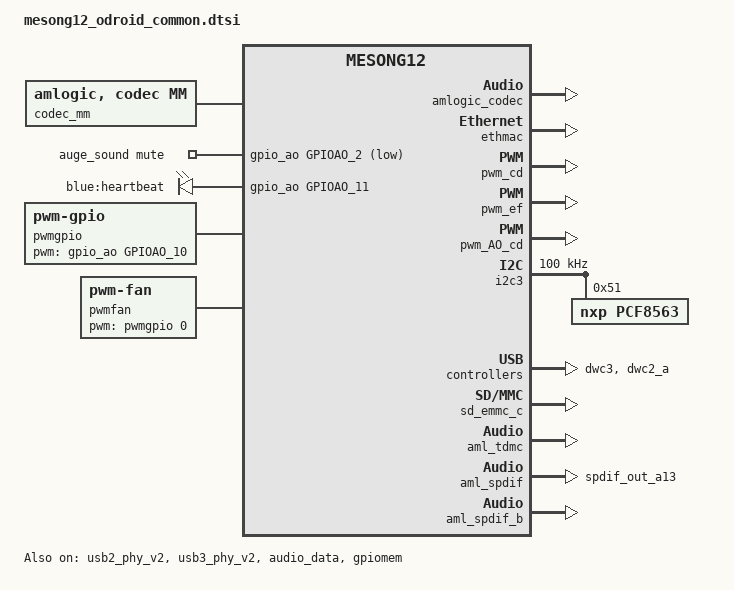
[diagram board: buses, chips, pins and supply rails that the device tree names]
/*
 * arch/arm64/boot/dts/amlogic/mesong12_odroid_common.dtsi
 *
 * Copyright (C) 2018 Hardkernel Co,. Ltd. All rights reserved.
 *
 * This program is free software; you can redistribute it and/or modify
 * it under the terms of the GNU General Public License as published by
 * the Free Software Foundation; either version 2 of the License, or
 * (at your option) any later version.
 *
 * This program is distributed in the hope that it will be useful, but WITHOUT
 * ANY WARRANTY; without even the implied warranty of MERCHANTABILITY or
 * FITNESS FOR A PARTICULAR PURPOSE.  See the GNU General Public License for
 * more details.
 *
 */

/{
	aliases {
		serial0 = &uart_AO;
		serial1 = &uart_A;
		serial2 = &uart_B;
		serial3 = &uart_C;
		serial4 = &uart_AO_B;
		i2c0 = &i2c0;
		i2c1 = &i2c1;
		i2c2 = &i2c2;
		i2c3 = &i2c3;
		i2c4 = &i2c_AO;
		tsensor0 = &p_tsensor;
		tsensor1 = &d_tsensor;
		spi0 = &spicc0;
		spi1 = &spicc1;
	};

	gpiomem {
		compatible = "amlogic, gpiomem";
		reg = <0x0 0xff634000 0x0 0x1000>;
		status = "okay";
	};

	codec_mm {
		compatible = "amlogic, codec, mm";
		memory-region = <&codec_mm_cma &codec_mm_reserved>;
		dev_name = "codec_mm";
		status = "okay";
	};

        ppmgr {
                compatible = "amlogic, ppmgr";
                memory-region = <&ppmgr_reserved>;
                dev_name = "ppmgr";
                status = "okay";
        };

	ionvideo {
		compatible = "amlogic, ionvideo";
		dev_name = "ionvideo";
		status = "okay";
	};

	/* Audio Related start */
	dummy_codec:dummy{
		#sound-dai-cells = <0>;
		compatible = "linux,spdif-dit";
		status = "okay";
	};
	amlogic_codec:t9015{
		#sound-dai-cells = <0>;
		compatible = "amlogic, aml_codec_T9015";
		reg = <0x0 0xFF632000 0x0 0x2000>;
		is_auge_used = <1>; /* meson or auge chipset used */
		tdmout_index = <2>;
		status = "okay";
	};
	audio_effect:eqdrc{
		/*eq_enable = <1>;*/
		/*drc_enable = <1>;*/
		/*
		 * 0:tdmout_a
		 * 1:tdmout_b
		 * 2:tdmout_c
		 * 3:spdifout
		 * 4:spdifout_b
		 */
		eqdrc_module = <1>;
		/* max 0xf, each bit for one lane, usually one lane */
		lane_mask = <0x1>;
		/* max 0xff, each bit for one channel */
		channel_mask = <0x3>;
	};
	auge_sound {
		compatible = "amlogic, g12a-sound-card";
		aml-audio-card,name = "AML-AUGESOUND";
		/*line-out mute gpio*/
		mute_gpio = <&gpio_ao GPIOAO_2 GPIO_ACTIVE_LOW>;
		/*for audio effect ,eqdrc */
		aml-audio-card,effect = <&audio_effect>;

		/* spdif_b to hdmi, only playback */
		aml-audio-card,dai-link@0 {
			mclk-fs = <128>;
			continuous-clock;
			cpu {
				sound-dai = <&aml_spdif_b>;
				system-clock-frequency = <6144000>;
			};
			codec {
				sound-dai = <&dummy_codec>;
			};
		};

		aml-audio-card,dai-link@1 {
			format = "i2s";// "dsp_a";
			mclk-fs = <256>;
			bitclock-master = <&aml_tdmc>;
			frame-master = <&aml_tdmc>;
			continuous-clock;
			cpu {
				sound-dai = <&aml_tdmc>;
				dai-tdm-slot-tx-mask = <1 1>;
				dai-tdm-slot-rx-mask = <1 1>;
				dai-tdm-slot-num = <2>;
				dai-tdm-slot-width = <32>;
				system-clock-frequency = <12288000>;
			};
			codec {
				sound-dai = <&amlogic_codec>;
			};
		};

		/* spdif_out GPIOA_11 */
		aml-audio-card,dai-link@2 {
			mclk-fs = <128>;
			continuous-clock;
			cpu {
				sound-dai = <&aml_spdif>;
				system-clock-frequency = <6144000>;
			};
			codec {
				sound-dai = <&dummy_codec>;
			};
		};
	};
	audiolocker: locker {
		compatible = "amlogic, audiolocker";
		clocks = <&clkaudio CLKID_AUDIO_LOCKER_OUT
				&clkaudio CLKID_AUDIO_LOCKER_IN
				&clkaudio CLKID_AUDIO_MCLK_D
				&clkaudio CLKID_AUDIO_MCLK_E
				&clkc CLKID_MPLL1
				&clkc CLKID_MPLL2>;
		clock-names = "lock_out", "lock_in", "out_src",
					"in_src", "out_calc", "in_ref";
		interrupts = <GIC_SPI 1 IRQ_TYPE_EDGE_RISING>;
		interrupt-names = "irq";
		frequency = <49000000>; /* pll */
		dividor = <49>; /* locker's parent */
		status = "okay";
	};
	/* Audio Related end */

	leds {
		compatible = "gpio-leds";
		blueled {
			label = "blue:heartbeat";
			gpios = <&gpio_ao GPIOAO_11 GPIO_ACTIVE_HIGH>;
			linux,default-trigger = "heartbeat";
		};
	};

	gpio-reset {
		compatible = "linux,gpio-reset";
		usb_hub_en {
			gpios = <&gpio GPIOH_5 GPIO_ACTIVE_HIGH>;
			asserted-state = <0>;
			duration-ms = <100>;
		};
		usb_hub {
			gpios = <&gpio GPIOH_4 GPIO_ACTIVE_HIGH>;
			asserted-state = <0>;
			duration-ms = <100>;
		};
	};

	efuse: efuse{
		compatible = "amlogic, efuse";
		read_cmd = <0x82000030>;
		write_cmd = <0x82000031>;
		get_max_cmd = <0x82000033>;
		key = <&efusekey>;
		status = "okay";
	};

	efusekey:efusekey{
		keynum = <1>;
		key0 = <&key_0>;

		key_0: key_0 {
			keyname = "uuid";
			offset = <0>;
			size = <32>;
		};
	};//End efusekey

	onewire:onewire {
		compatible = "w1-gpio";
		gpios = <&gpio GPIOA_13 GPIO_ACTIVE_HIGH>;
		status = "disabled";
	};

	pwmgpio:pwmgpio {
		compatible = "pwm-gpio";
		#pwm-cells = <3>;
		pwm-gpios = <&gpio_ao GPIOAO_10 GPIO_ACTIVE_HIGH>;
		status = "okay";
	};

	pwmfan:pwm-fan {
		compatible = "pwm-fan";
		pwms = <&pwmgpio 0 40000 PWM_POLARITY_INVERTED>;
		cooling-min-state = <0>;
		cooling-max-state = <3>;
		#cooling-cells = <2>;
		cooling-levels = <0 120 170 220>;
	};
};

&soc_thermal {
	trips {
		fan_0: trip-point@4 {
			temperature = <45000>;
			hysteresis = <5000>;
			type = "active";
		};
		fan_1: trip-point@5 {
			temperature = <55000>;
			hysteresis = <5000>;
			type = "active";
		};
		fan_2: trip-point@6 {
			temperature = <60000>;
			hysteresis = <5000>;
			type = "active";
		};
	};
	cooling-maps {
		fan_cooling_map0 {
			trip = <&fan_0>;
			cooling-device = <&pwmfan 0 1>;
		};
		fan_cooling_map1 {
			trip = <&fan_1>;
			cooling-device = <&pwmfan 1 2>;
		};
		fan_cooling_map2 {
			trip = <&fan_2>;
			cooling-device = <&pwmfan 2 3>;
		};
	};
};

&ethmac {
	status = "okay";
	pinctrl-names = "external_eth_pins";
	pinctrl-0 = <&external_eth_pins>;
	mc_val = <0x1621>;

	internal_phy=<0>;

	/* reset */
	rst_pin-gpios = <&gpio GPIOZ_15 GPIO_ACTIVE_LOW>;
};

/*if you want to use vdin just modify status to "ok"*/
&vdin0 {
	memory-region = <&vdin0_cma_reserved>;
	status = "disable";
	/*vdin write mem color depth support:
	 *bit0:support 8bit
	 *bit1:support 9bit
	 *bit2:support 10bit
	 *bit3:support 12bit
	 *bit4:support yuv422 10bit full pack mode (from txl new add)
	 */
	tv_bit_mode = <0x15>;
};

&vdin1 {
	memory-region = <&vdin1_cma_reserved>;
	status = "disable";
	/*vdin write mem color depth support:
	 *bit0:support 8bit
	 *bit1:support 9bit
	 *bit2:support 10bit
	 *bit3:support 12bit
	 */
	tv_bit_mode = <1>;
};

&pwm_cd {
	status = "okay";
	pinctrl-names = "pwm_pins","gpio_periphs";
	pinctrl-0 = <&pwm_c_pins2 &pwm_d_pins2>;
	pinctrl-1 = <&pwmcd_to_gpios>;
};

&pwm_ef {
	status = "okay";
	pinctrl-names = "pwm_pins","gpio_periphs";
	pinctrl-0 = <&pwm_e_pins &pwm_f_pins1>;
	pinctrl-1 = <&pwmef_to_gpios>;
};

&pwm_AO_cd {
	status = "okay";
};

&i2c3 {
	status = "okay";
	pinctrl-names = "default","gpio_periphs";
	pinctrl-0 = <&i2c3_master_pins2>;
	pinctrl-1 = <&i2c3_to_gpioa>;
	clock-frequency = <100000>;		/* default 100k */

	pcf8563: rtc@51 {
		compatible = "nxp,pcf8563";
		reg = <0x51>;
	};
};

&usb2_phy_v2 {
	status = "okay";
	portnum = <2>;
};

&usb3_phy_v2 {
	status = "okay";
	portnum = <1>;
	otg = <1>;
	gpio-vbus-power = "GPIOH_6";
	gpios = <&gpio GPIOH_6 GPIO_ACTIVE_HIGH>;
};

&dwc3 {
	status = "okay";
};

&dwc2_a {
	status = "okay";
	/** 0: normal, 1: otg+dwc3 host only, 2: otg+dwc3 device only*/
	controller-type = <3>;
};

&pcie_A {
	reset-gpio = <&gpio GPIOX_7 GPIO_ACTIVE_HIGH>;
	status = "disable";
};

&sd_emmc_c {
	status = "okay";
	mmc-ddr-1_8v;
	mmc-hs200-1_8v;
	emmc {
		caps = "MMC_CAP_8_BIT_DATA",
			 "MMC_CAP_MMC_HIGHSPEED",
			 "MMC_CAP_SD_HIGHSPEED",
			 "MMC_CAP_NONREMOVABLE",
			 "MMC_CAP_1_8V_DDR",
			 "MMC_CAP_HW_RESET",
			 "MMC_CAP_ERASE",
			 "MMC_CAP_CMD23";
		caps2 = "MMC_CAP2_HS200_1_8V_SDR",
			"MMC_CAP2_BROKEN_VOLTAGE";
		f_min = <400000>;
		f_max = <200000000>;
		hw_reset = <&gpio BOOT_12 GPIO_ACTIVE_HIGH>;
	};
};

&audiobus {
	/* tdmc to internal DAC output, no pinmux */
	aml_tdmc: tdmc {
		compatible = "amlogic, g12a-snd-tdmc";
		#sound-dai-cells = <0>;
		dai-tdm-lane-slot-mask-in = <0 1 0 0>;
		dai-tdm-lane-slot-mask-out = <1 0 0 0>;
		dai-tdm-clk-sel = <2>;
		clocks = <&clkaudio CLKID_AUDIO_MCLK_C
				&clkc CLKID_MPLL2>;
		clock-names = "mclk", "clk_srcpll";
		i2s2hdmi = <0>;
		status = "okay";
	};

	aml_spdif: spdif {
		compatible = "amlogic, g12a-snd-spdif-a";
		#sound-dai-cells = <0>;
		clocks = <&clkc CLKID_MPLL0
				&clkc CLKID_FCLK_DIV4
				&clkaudio CLKID_AUDIO_SPDIFIN
				&clkaudio CLKID_AUDIO_SPDIFOUT
				&clkaudio CLKID_AUDIO_SPDIFIN_CTRL
				&clkaudio CLKID_AUDIO_SPDIFOUT_CTRL>;
		clock-names = "sysclk", "fixed_clk", "gate_spdifin",
				"gate_spdifout", "clk_spdifin", "clk_spdifout";
		interrupts = <GIC_SPI 151 IRQ_TYPE_EDGE_RISING>;
		interrupt-names = "irq_spdifin";
		pinctrl-names = "spdif_pins";
		pinctrl-0 = <&spdifout>;
		status = "okay";
	};
	aml_spdif_b: spdif_b {
		compatible = "amlogic, g12a-snd-spdif-b";
		#sound-dai-cells = <0>;
		clocks = <&clkc CLKID_MPLL0 /*CLKID_HIFI_PLL*/
				&clkaudio CLKID_AUDIO_SPDIFOUTB
				&clkaudio CLKID_AUDIO_SPDIFOUTB_CTRL>;
		clock-names = "sysclk",
				"gate_spdifout", "clk_spdifout";
		status = "okay";
	};
	aml_loopback: loopback {
		compatible = "amlogic, snd-loopback";
		/*
		 * 0: out rate = in data rate;
		 * 1: out rate = loopback data rate;
		 */
		lb_mode = <0>;

		/* datain src
		 * 0: tdmin_a;
		 * 1: tdmin_b;
		 * 2: tdmin_c;
		 * 3: spdifin;
		 * 4: pdmin;
		 */
		datain_src = <4>;
		datain_chnum = <8>;
		datain_chmask = <0x3f>;

		/* tdmin_lb src
		 * 0: tdmoutA
		 * 1: tdmoutB
		 * 2: tdmoutC
		 * 3: PAD_tdminA
		 * 4: PAD_tdminB
		 * 5: PAD_tdminC
		 */
		datalb_src = <2>;
		datalb_chnum = <8>;
		datalb_chmask = <0x3>;

		status = "disabled";
	};

	audioresample: resample {
		compatible = "amlogic, g12a-resample";
		clocks = <&clkc CLKID_MPLL3
				&clkaudio CLKID_AUDIO_MCLK_F
				&clkaudio CLKID_AUDIO_RESAMPLE_CTRL>;
		clock-names = "resample_pll", "resample_src", "resample_clk";
		/*same with toddr_src
		 *	TDMIN_A, 0
		 *	TDMIN_B, 1
		 *	TDMIN_C, 2
		 *	SPDIFIN, 3
		 *	PDMIN,  4
		 *	NONE,
		 *	TDMIN_LB, 6
		 *	LOOPBACK, 7
		 */
		resample_module = <4>;
		status = "disabled";
	};
	aml_pwrdet: pwrdet {
		compatible = "amlogic, g12a-power-detect";

		interrupts = <GIC_SPI 155 IRQ_TYPE_EDGE_RISING>;
		interrupt-names = "pwrdet_irq";

		/* pwrdet source sel
		 * 7: loopback;
		 * 6: tdmin_lb;
		 * 5: reserved;
		 * 4: pdmin;
		 * 3: spdifin;
		 * 2: tdmin_c;
		 * 1: tdmin_b;
		 * 0: tdmin_a;
		 */
		pwrdet_src = <4>;

		hi_th = <0x70000>;
		lo_th = <0x16000>;

		status = "disabled";
	};
}; /* end of audiobus */

&audio_data {
	status = "okay";
};

&pinctrl_periphs {
	i2c2_to_gpiox:i2c2_gpiox {
		mux {
			groups = "GPIOX_17",
				"GPIOX_18";
			function = "gpio_periphs";
			drive-strength = <3>;
		};
	};
	i2c3_master_pins2:i2c3_pins2 {
		mux {
			drive-strength = <3>;
		};
	};
	i2c3_to_gpioa:i2c3_gpioa {
		mux {
			groups = "GPIOA_14",
				"GPIOA_15";
			function = "gpio_periphs";
			drive-strength = <3>;
		};
	};
	spdifout: spdifout {
		mux {/* GPIOA_13 */
			groups = "spdif_out_a13";
			function = "spdif_out";
		};
	};
	pwmcd_to_gpios:pwmcd_gpio {
		mux {
			groups = "GPIOX_5", "GPIOX_6";
			function = "gpio_periphs";
		};
	};
	pwmef_to_gpios:pwmef_gpio {
		mux {
			groups = "GPIOX_16", "GPIOX_7";
			function = "gpio_periphs";
		};
	};
	spicc0_pins_x: spicc0_pins_x {
		mux {
			drive-strength = <3>;
		};
	};
	spicc0_to_gpiox: spicc0_gpiox {
		mux {
			groups = "GPIOX_8",
				 "GPIOX_9",
				 //"GPIOX_10",
				 "GPIOX_11";
			function = "gpio_periphs";
		};
	};
}; /* end of pinctrl_periphs */

&spifc {
	status = "disabled";
	spi-nor@0 {
		compatible = "jedec,spi-nor";
		spifc-frequency = <40000000>;
		read-capability = <2>;
		spifc-io-width = <2>;
		cs_gpios = <&gpio BOOT_14 GPIO_ACTIVE_LOW>;
	};
};

&gpio_intc {
	compatible = "amlogic,meson-gpio-intc-ext",
		   "amlogic,meson-g12a-gpio-intc";
};
